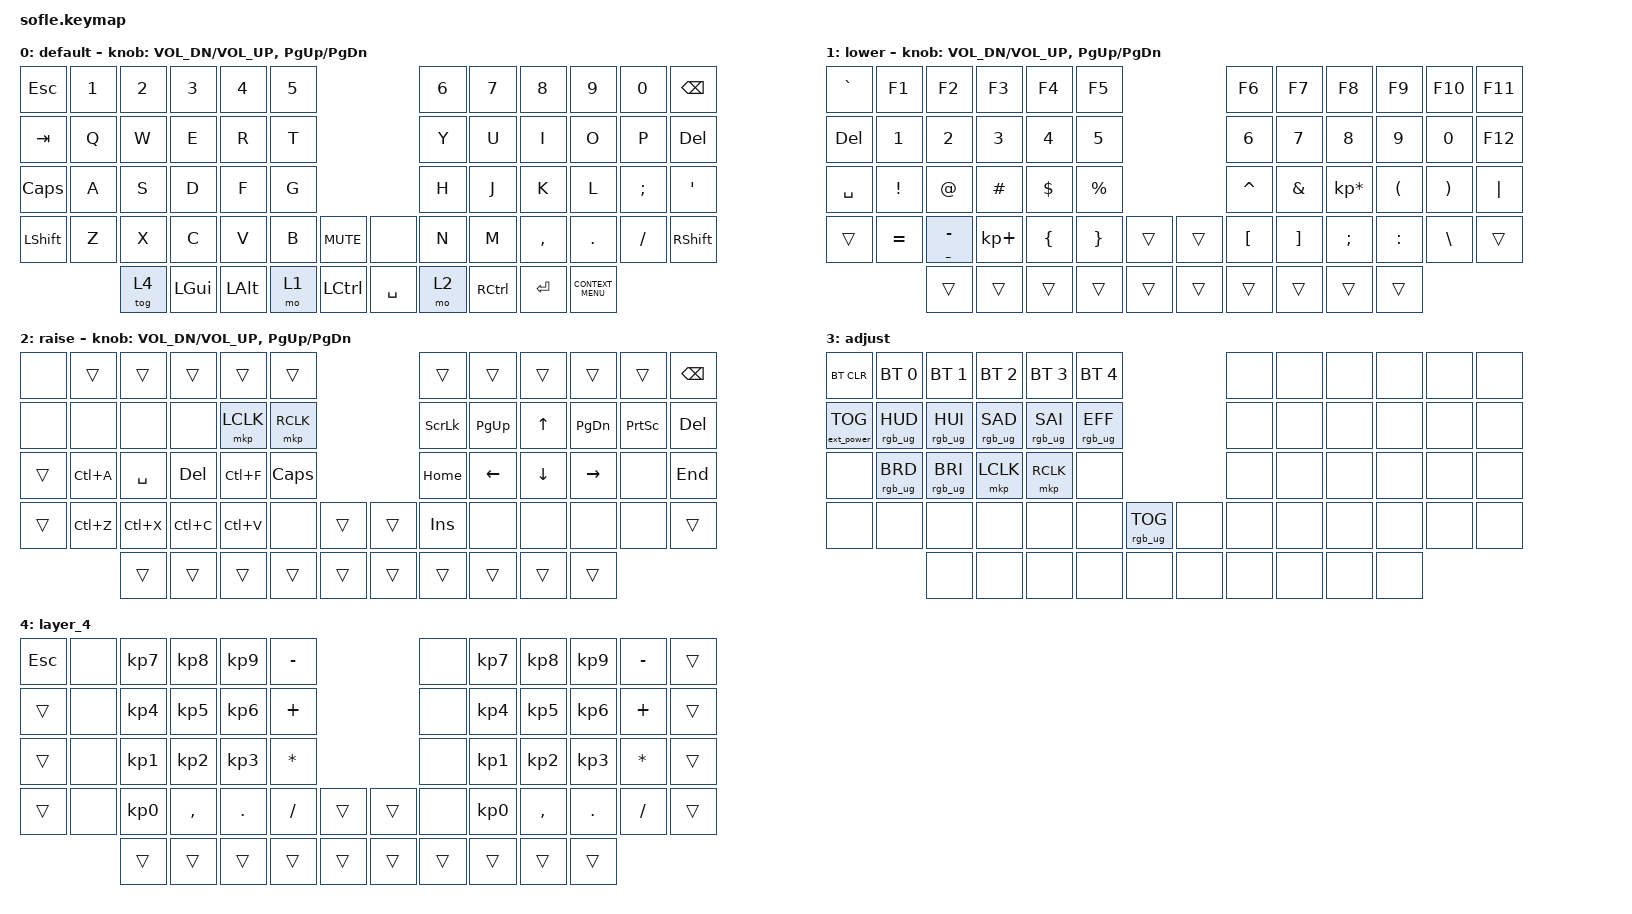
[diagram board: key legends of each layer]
/*
 * Copyright (c) 2020 The ZMK Contributors
 *
 * SPDX-License-Identifier: MIT
 */

#include "includes/mouse_move.dtsi"

#define BASE 0
#define LOWER 1
#define RAISE 2
#define ADJUST 3
#define HAS_MOUSE_KEYS y

// Personal includes
//#ifdef HAS_MOUSE_KEYS

#include "includes/mouse_keys.dtsi"
#include <behaviors.dtsi>
#include <dt-bindings/zmk/bt.h>
#include <dt-bindings/zmk/ext_power.h>
#include <dt-bindings/zmk/keys.h>
#include <dt-bindings/zmk/mouse.h>
#include <dt-bindings/zmk/rgb.h>

//#endif

/ {
    // Activate ADJUST layer by pressing raise and lower

    conditional_layers {
        compatible = "zmk,conditional-layers";

        adjust_layer {
            if-layers = <LOWER RAISE>;
            then-layer = <ADJUST>;
        };
    };

    keymap {
        compatible = "zmk,keymap";

        default_layer {
            display-name = "default";

            // -------------------------------------------------------------------------------------------------------------
            // |  ESC  |  1  |  2  |  3   |  4   |  5   |                   |  6   |  7  |  8    |  9      |   0   | BKSPC |
            // |   `   |  Q  |  W  |  E   |  R   |  T   |                   |  Y   |  U  |  I    |  O      |   P   |  DEL  |
            // |  TAB  |  A  |  S  |  D   |  F   |  G   |                   |  H   |  J  |  K    |  L      |   ;   |   '   |
            // | SHIFT |  Z  |  X  |  C   |  V   |  B   |  MUTE  |  |       |  N   |  M  |  ,    |  .      |   /   | SHIFT |
            //               | CTRL|  GUI | ALT  | LOWER|  SPACE |  | SPACE | RAISE| ALT | ENTER | CONTEXT |

            bindings = <
&kp ESC    &kp N1  &kp N2  &kp N3    &kp N4        &kp N5                           &kp N6  &kp N7     &kp N8     &kp N9              &kp N0    &kp BACKSPACE
&kp TAB    &kp Q   &kp W   &kp E     &kp R         &kp T                            &kp Y   &kp U      &kp I      &kp O               &kp P     &kp DEL
&kp CAPS   &kp A   &kp S   &kp D     &kp F         &kp G                            &kp H   &kp J      &kp K      &kp L               &kp SEMI  &kp SQT
&kp LSHFT  &kp Z   &kp X   &kp C     &kp V         &kp B   &kp C_MUTE    &none      &kp N   &kp M      &kp COMMA  &kp DOT             &kp FSLH  &kp RSHFT
                   &tog 4  &kp LGUI  &kp LEFT_ALT  &mo 1   &kp LCTRL     &kp SPACE  &mo 2   &kp RCTRL  &kp ENTER  &kp K_CONTEXT_MENU
            >;

            sensor-bindings = <&inc_dec_kp C_VOL_DN C_VOL_UP &inc_dec_kp PG_UP PG_DN>;
        };

        lower_layer {
            display-name = "lower";

            // TODO: Some binds are waiting for shifted keycode support.
            // ------------------------------------------------------------------------------------------------------------
            // |       |  F1 |  F2 |  F3  |  F4  |  F5  |                   |  F6  |  F7   |  F8   |  F9  |  F10  |  F11  |
            // |   `   |  1  |  2  |  3   |  4   |  5   |                   |  6   |  7    |  8    |  9   |   0   |  F12  |
            // |       |  !  |  @  |  #   |  $   |  %   |                   |  ^   |  &    |  *    |  (   |   )   |   |   |
            // |       |  =  |  -  |  +   |  {   |  }   |        |  |       |  [   |  ]    |  ;    |  :   |   \   |       |
            //               |     |      |      |      |        |  |       |      |       |       |      |

            bindings = <
&kp GRAVE  &kp F1     &kp F2                &kp F3       &kp F4    &kp F5                       &kp F6     &kp F7    &kp F8           &kp F9     &kp F10   &kp F11
&kp DEL    &kp N1     &kp N2                &kp N3       &kp N4    &kp N5                       &kp N6     &kp N7    &kp N8           &kp N9     &kp N0    &kp F12
&kp SPACE  &kp EXCL   &kp AT                &kp HASH     &kp DLLR  &kp PRCNT                    &kp CARET  &kp AMPS  &kp KP_MULTIPLY  &kp LPAR   &kp RPAR  &kp PIPE
&trans     &kp EQUAL  &mt UNDERSCORE MINUS  &kp KP_PLUS  &kp LBRC  &kp RBRC   &trans    &trans  &kp LBKT   &kp RBKT  &kp SEMI         &kp COLON  &kp BSLH  &trans
                      &trans                &trans       &trans    &trans     &trans    &trans  &trans     &trans    &trans           &trans
            >;

            sensor-bindings = <&inc_dec_kp C_VOL_DN C_VOL_UP &inc_dec_kp PG_UP PG_DN>;
        };

        raise_layer {
            display-name = "raise";

            // ------------------------------------------------------------------------------------------------------------
            // | BTCLR | BT1  | BT2  |  BT3  |  BT4  |  BT5 |                |      |      |       |      |       | BKSPC |
            // |       | INS  | PSCR | GUI   | LCLK  | RCLK |                | PGUP | HOME |   ^   | END  |       |  DEL  |
            // |       | ALT  | CTRL | SHIFT |       | CAPS |                | PGDN |   <- |   v   |  ->  |       |       |
            // |       | UNDO | CUT  | COPY  | PASTE |      |      |  |      |      |      |       |      |       |       |
            //                |      |       |       |      |      |  |      |      |      |       |      |

            bindings = <
&none   &trans     &trans     &trans      &trans     &trans                       &trans          &trans     &trans    &trans     &trans           &kp BSPC
&none   &none      &none      &none       &mkp LCLK  &mkp RCLK                    &kp SCROLLLOCK  &kp PG_UP  &kp UP    &kp PG_DN  &kp PRINTSCREEN  &kp DEL
&trans  &kp LC(A)  &kp SPACE  &kp DELETE  &kp LC(F)  &kp CLCK                     &kp HOME        &kp LEFT   &kp DOWN  &kp RIGHT  &none            &kp END
&trans  &kp LC(Z)  &kp LC(X)  &kp LC(C)   &kp LC(V)  &none      &trans    &trans  &kp INS         &none      &none     &none      &none            &trans
                   &trans     &trans      &trans     &trans     &trans    &trans  &trans          &trans     &trans    &trans
            >;

            sensor-bindings = <&inc_dec_kp C_VOL_DN C_VOL_UP &inc_dec_kp PG_UP PG_DN>;
        };

        adjust_layer {
            // ----------------------------------------------------------------------------------------------------------------------------
            // | BTCLR  |  BT1    |  BT2    |   BT3   |   BT4   |   BT5   |                  |      |         |         |          |       |       |
            // | EXTPWR | RGB_HUD | RGB_HUI | RGB_SAD | RGB_SAI | RGB_EFF |                  |      |         |         |          |       |       |
            // |        | RGB_BRD | RGB_BRI | LCLK    |  RCLK   |         |                  |      |         |         |          |       |       |
            // |        |         |         |         |         |         | RGB_TOG | |      |      |         |         |          |       |       |
            //                    |         |         |         |         |         | |      |      |         |         |          |

            display-name = "adjust";
            bindings = <
&bt BT_CLR         &bt BT_SEL 0     &bt BT_SEL 1     &bt BT_SEL 2     &bt BT_SEL 3     &bt BT_SEL 4                               &none  &none  &none  &none  &none  &none
&ext_power EP_TOG  &rgb_ug RGB_HUD  &rgb_ug RGB_HUI  &rgb_ug RGB_SAD  &rgb_ug RGB_SAI  &rgb_ug RGB_EFF                            &none  &none  &none  &none  &none  &none
&none              &rgb_ug RGB_BRD  &rgb_ug RGB_BRI  &mkp LCLK        &mkp RCLK        &none                                      &none  &none  &none  &none  &none  &none
&none              &none            &none            &none            &none            &none            &rgb_ug RGB_TOG    &none  &none  &none  &none  &none  &none  &none
                                    &none            &none            &none            &none            &none              &none  &none  &none  &none  &none
            >;
        };

        layer_4 {
            bindings = <
&kp ESC  &none  &kp KP_NUMBER_7  &kp KP_NUMBER_8  &kp KP_NUMBER_9  &kp MINUS                       &none   &kp KP_NUMBER_7  &kp KP_NUMBER_8  &kp KP_NUMBER_9  &kp MINUS     &trans
&trans   &none  &kp KP_NUMBER_4  &kp KP_NUMBER_5  &kp KP_NUMBER_6  &kp PLUS                        &none   &kp KP_NUMBER_4  &kp KP_NUMBER_5  &kp KP_NUMBER_6  &kp PLUS      &trans
&trans   &none  &kp KP_NUMBER_1  &kp KP_NUMBER_2  &kp KP_NUMBER_3  &kp ASTERISK                    &none   &kp KP_NUMBER_1  &kp KP_NUMBER_2  &kp KP_NUMBER_3  &kp ASTERISK  &trans
&trans   &none  &kp KP_NUMBER_0  &kp COMMA        &kp PERIOD       &kp SLASH     &trans    &trans  &none   &kp KP_NUMBER_0  &kp COMMA        &kp PERIOD       &kp SLASH     &trans
                &trans           &trans           &trans           &trans        &trans    &trans  &trans  &trans           &trans           &trans
            >;
        };
    };
};
